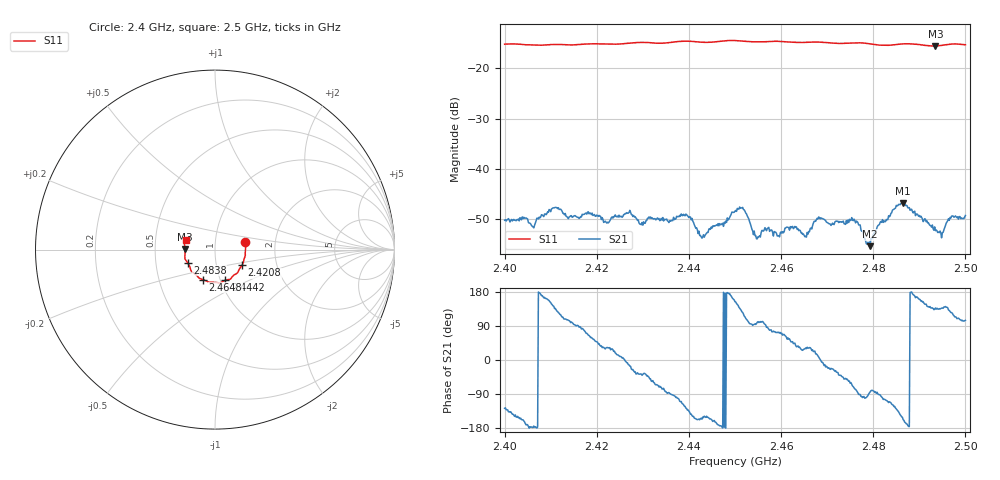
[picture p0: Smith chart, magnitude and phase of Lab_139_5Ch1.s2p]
# Hz S RI R 50
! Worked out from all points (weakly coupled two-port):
!   601 points, 2.4 GHz to 2.5 GHz, reference 50 ohm
!   highest |S21| = -46.72 dB at 2.4865 GHz (marker M1); lowest = -55.3 dB at 2.4793 GHz (marker M2)
!   lowest |S11| = -15.6 dB at 2.4935 GHz (marker M3), VSWR 1.40, Z = 35.8 + j0.203 ohm
!   |S11| at or under -10 dB: start of sweep to end of sweep
!   S12 and S22 are empty: the file has one direction only
!   S11 on the Smith chart (normalised r, x): 2.4 GHz: 1.40, +0.12; 2.4208 GHz: 1.33, -0.24; 2.4442 GHz: 1.05, -0.37; 2.4648 GHz: 0.83, -0.29; 2.4838 GHz: 0.73, -0.11; 2.5 GHz: 0.72, +0.08
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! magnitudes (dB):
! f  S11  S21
! 2.4 GHz  -15.2  -50.1
! 2.4062 GHz  -15.4  -51.5
! 2.4108 GHz  -15.3  -47.7
! 2.4167 GHz  -15.2  -49.5
! 2.4208 GHz  -15.2  -49.4
! 2.4333 GHz  -15.1  -49.9
! 2.4393 GHz  -14.6  -48.9
! 2.4425 GHz  -14.8  -53.2
! 2.4442 GHz  -14.9  -52.6
! 2.45 GHz  -14.5  -48.4
! 2.452 GHz  -14.7  -48.1
! 2.4548 GHz  -14.8  -53.8
! 2.4625 GHz  -14.8  -51.4
! 2.4648 GHz  -14.9  -52.9
! 2.4667 GHz  -14.8  -51.9
! 2.4753 GHz  -15.0  -49.6
! 2.4793 GHz  -15.2  -55.3
! 2.4833 GHz  -15.5  -49.3
! 2.4838 GHz  -15.4  -48.8
! 2.4865 GHz  -15.2  -46.7
! 2.4935 GHz  -15.6  -52.2
! 2.5 GHz  -15.4  -49.2
